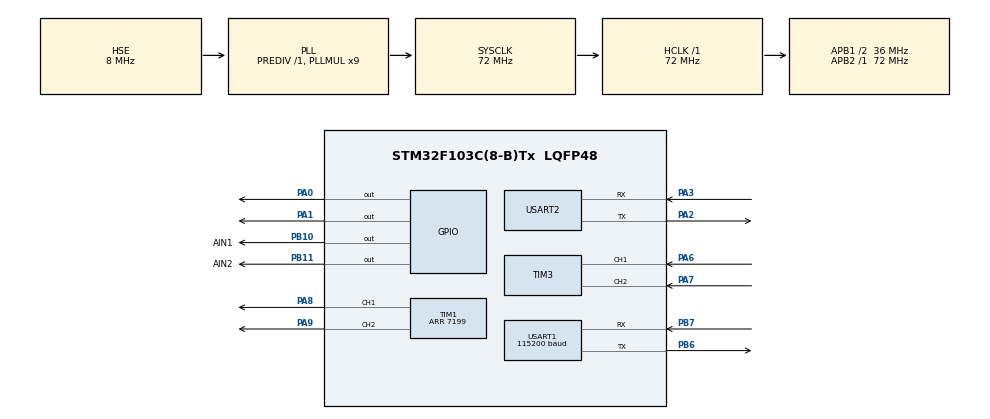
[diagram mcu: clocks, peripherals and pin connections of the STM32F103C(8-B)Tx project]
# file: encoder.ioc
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Dma.Request0=USART1_TX
Dma.USART1_TX.0.Direction=DMA_MEMORY_TO_PERIPH
Dma.USART1_TX.0.Instance=DMA1_Channel4
Dma.USART1_TX.0.MemDataAlignment=DMA_MDATAALIGN_BYTE
Dma.USART1_TX.0.MemInc=DMA_MINC_ENABLE
Dma.USART1_TX.0.Mode=DMA_NORMAL
Dma.USART1_TX.0.PeriphDataAlignment=DMA_PDATAALIGN_BYTE
Dma.USART1_TX.0.PeriphInc=DMA_PINC_DISABLE
Dma.USART1_TX.0.Priority=DMA_PRIORITY_LOW
Mcu.Family=STM32F1
Mcu.Name=STM32F103C(8-B)Tx
Mcu.Package=LQFP48
NVIC.DMA1_Channel4_IRQn=true\:0\:0\:false\:false\:true\:false\:true
NVIC.PriorityGroup=NVIC_PRIORITYGROUP_4
NVIC.TIM2_IRQn=true\:0\:0\:false\:false\:true\:true\:true
NVIC.TIM3_IRQn=true\:2\:0\:true\:false\:true\:true\:true
NVIC.USART2_IRQn=true\:1\:0\:true\:false\:true\:true\:true
PA0-WKUP.Signal=GPIO_Output
PA1.Signal=GPIO_Output
PA2.Mode=Asynchronous
PA2.Signal=USART2_TX
PA3.Mode=Asynchronous
PA3.Signal=USART2_RX
PA6.Signal=S_TIM3_CH1
PA7.Signal=S_TIM3_CH2
PA8.Signal=S_TIM1_CH1
PA9.Signal=S_TIM1_CH2
PB10.GPIO_Label=AIN1
PB10.Signal=GPIO_Output
PB11.GPIO_Label=AIN2
PB11.Signal=GPIO_Output
PB6.Mode=Asynchronous
PB6.Signal=USART1_TX
PB7.Mode=Asynchronous
PB7.Signal=USART1_RX
PD0-OSC_IN.Mode=HSE-External-Oscillator
PD0-OSC_IN.Signal=RCC_OSC_IN
PD1-OSC_OUT.Mode=HSE-External-Oscillator
PD1-OSC_OUT.Signal=RCC_OSC_OUT
ProjectManager.HeapSize=0x200
ProjectManager.StackSize=0x400
ProjectManager.TargetToolchain=STM32CubeIDE
RCC.AHBFreq_Value=72000000
RCC.APB1CLKDivider=RCC_HCLK_DIV2
RCC.APB1Freq_Value=36000000
RCC.APB1TimFreq_Value=72000000
RCC.APB2Freq_Value=72000000
RCC.APB2TimFreq_Value=72000000
RCC.EnbaleCSS=true
RCC.HCLKFreq_Value=72000000
RCC.PLLMUL=RCC_PLL_MUL9
RCC.PLLSourceVirtual=RCC_PLLSOURCE_HSE
RCC.SYSCLKFreq_VALUE=72000000
RCC.SYSCLKSource=RCC_SYSCLKSOURCE_PLLCLK
RCC.USBFreq_Value=72000000
SH.S_TIM1_CH1.0=TIM1_CH1,PWM Generation1 CH1
SH.S_TIM1_CH2.0=TIM1_CH2,PWM Generation2 CH2
SH.S_TIM3_CH1.0=TIM3_CH1,Encoder_Interface
SH.S_TIM3_CH2.0=TIM3_CH2,Encoder_Interface
TIM1.Channel-PWM\ Generation1\ CH1=TIM_CHANNEL_1
TIM1.Channel-PWM\ Generation2\ CH2=TIM_CHANNEL_2
TIM1.Period=7199
TIM1.Pulse-PWM\ Generation1\ CH1=0
TIM2.Period=9999
TIM2.Prescaler=71
TIM3.EncoderMode=TIM_ENCODERMODE_TI12
TIM3.IC1Filter=10
TIM3.IC2Filter=10
USART1.BaudRate=115200
USART1.VirtualMode=VM_ASYNC
USART2.VirtualMode=VM_ASYNC
VP_SYS_VS_ND.Mode=No_Debug
VP_TIM1_VS_ClockSourceINT.Mode=Internal
VP_TIM2_VS_ClockSourceINT.Mode=Internal
board=custom

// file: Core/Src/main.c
/* USER CODE BEGIN Header */
/**
  ******************************************************************************
  * @file           : main.c
  * @brief          : Main program body
  ******************************************************************************
  * @attention
  *
  * <h2><center>&copy; Copyright (c) 2021 STMicroelectronics.
  * All rights reserved.</center></h2>
  *
  * This software component is licensed by ST under BSD 3-Clause license,
  * the "License"; You may not use this file except in compliance with the
  * License. You may obtain a copy of the License at:
  *                        opensource.org/licenses/BSD-3-Clause
  *
  ******************************************************************************
  */
/* USER CODE END Header */
#include "main.h"
#include "dma.h"
#include "tim.h"
#include "usart.h"
#include "gpio.h"

/* USER CODE BEGIN Includes */
#include <stdio.h>
#include <math.h>
#include "retarget.h"
#include "control.h"
#include "DataScope_DP.h"
#include "oled.h"
/* USER CODE END Includes */

/* USER CODE BEGIN PD */
#define DC 1500
/* USER CODE END PD */

/* USER CODE BEGIN PV */
uint16_t Send_Count;

int Target_velocity = DC;

int DirectionA;
int CaptureNumberA;
float cnt=0;

float Kp=20,Ki=30;

uint8_t counter=0;
uint8_t RxBuffer[4];

uint8_t dat[] = {"hello_world!"};
/* USER CODE END PV */

void SystemClock_Config(void);
/* USER CODE BEGIN PFP */
void HAL_TIM_PeriodElapsedCallback(TIM_HandleTypeDef *htim);
void HAL_UART_RxCpltCallback(UART_HandleTypeDef *huart);
/* USER CODE END PFP */

int main(void)
{

  /* MCU Configuration--------------------------------------------------------*/

  /* Reset of all peripherals, Initializes the Flash interface and the Systick. */
  HAL_Init();

  /* Configure the system clock */
  SystemClock_Config();

  /* Initialize all configured peripherals */
  MX_GPIO_Init();
  MX_DMA_Init();
  MX_TIM1_Init();
  MX_TIM2_Init();
  MX_TIM3_Init();
  MX_USART1_UART_Init();
  MX_USART2_UART_Init();
  /* USER CODE BEGIN 2 */
  RetargetInit(&huart2);

  HAL_TIM_PWM_Start(&htim1, TIM_CHANNEL_1);
  HAL_TIM_Base_Start_IT(&htim2);
  HAL_TIM_Encoder_Start(&htim3, TIM_CHANNEL_ALL);

  HAL_UART_Receive_IT(&huart2, RxBuffer, 4);

  OLED_Init();
  OLED_Clear();
  OLED_ShowString(0, 0, dat,8, 1);
  OLED_Refresh();
  /* USER CODE END 2 */

  /* Infinite loop */
  while (1)
  {

  }
}

void SystemClock_Config(void)
{
  RCC_OscInitTypeDef RCC_OscInitStruct = {0};
  RCC_ClkInitTypeDef RCC_ClkInitStruct = {0};

  /** Initializes the RCC Oscillators according to the specified parameters
  * in the RCC_OscInitTypeDef structure.
  */
  RCC_OscInitStruct.OscillatorType = RCC_OSCILLATORTYPE_HSE;
  RCC_OscInitStruct.HSEState = RCC_HSE_ON;
  RCC_OscInitStruct.HSEPredivValue = RCC_HSE_PREDIV_DIV1;
  RCC_OscInitStruct.HSIState = RCC_HSI_ON;
  RCC_OscInitStruct.PLL.PLLState = RCC_PLL_ON;
  RCC_OscInitStruct.PLL.PLLSource = RCC_PLLSOURCE_HSE;
  RCC_OscInitStruct.PLL.PLLMUL = RCC_PLL_MUL9;
  if (HAL_RCC_OscConfig(&RCC_OscInitStruct) != HAL_OK)
  {
    Error_Handler();
  }
  /** Initializes the CPU, AHB and APB buses clocks
  */
  RCC_ClkInitStruct.ClockType = RCC_CLOCKTYPE_HCLK|RCC_CLOCKTYPE_SYSCLK
                              |RCC_CLOCKTYPE_PCLK1|RCC_CLOCKTYPE_PCLK2;
  RCC_ClkInitStruct.SYSCLKSource = RCC_SYSCLKSOURCE_PLLCLK;
  RCC_ClkInitStruct.AHBCLKDivider = RCC_SYSCLK_DIV1;
  RCC_ClkInitStruct.APB1CLKDivider = RCC_HCLK_DIV2;
  RCC_ClkInitStruct.APB2CLKDivider = RCC_HCLK_DIV1;

  if (HAL_RCC_ClockConfig(&RCC_ClkInitStruct, FLASH_LATENCY_2) != HAL_OK)
  {
    Error_Handler();
  }
  /** Enables the Clock Security System
  */
  HAL_RCC_EnableCSS();
}

/* USER CODE BEGIN 4 */
void HAL_TIM_PeriodElapsedCallback(TIM_HandleTypeDef *htim)
{
	int moto;
	if(htim==(&htim2)){
		cnt = cnt + 0.0314;
		if(cnt>6.28)cnt = 0;
		Target_velocity = DC + 500*sin(cnt);
		DirectionA = (int)(__HAL_TIM_IS_TIM_COUNTING_DOWN(&htim3));
		CaptureNumberA = (short)(__HAL_TIM_GetCounter(&htim3));
		__HAL_TIM_SET_COUNTER(&htim3,0);

		moto=Incremental_PI(CaptureNumberA,Target_velocity,Kp,Ki);
		Set_Pwm(moto);

		DataScope_Get_Channel_Data((float)(CaptureNumberA/100),1);
		DataScope_Get_Channel_Data((float)(Target_velocity/100),2);
		Send_Count = DataScope_Data_Generate(4);
		HAL_UART_Transmit_DMA(&huart1, DataScope_OutPut_Buffer, Send_Count);
		printf("%d %d kp:%d ki:%d\r\n",CaptureNumberA/100,Target_velocity/100,(int)Kp,(int)Ki);
/*
		counter++;
		if(counter>10){
			uint8_t data[16];
			counter = 0;
			OLED_ShowString(0, 0, "target", 6, 1);
			sprintf(data,"%d",(int)(Target_velocity/100));
			OLED_ShowString(1, 0, data, 16, 1);
			OLED_ShowString(2, 0, "encoder", 7, 1);
			sprintf(data,"%d",(int)(CaptureNumberA/100));
			OLED_ShowString(3, 0, data, 16, 1);
			OLED_Refresh();

		}*/
	}

}

void HAL_UART_RxCpltCallback(UART_HandleTypeDef *huart)
{
	if(huart==(&huart2)){

		if((RxBuffer[0]==0xfe)&&(RxBuffer[3]==0xff)){
			Kp = RxBuffer[1];
			Ki = RxBuffer[2];
		}
		HAL_UART_Receive_IT(&huart2, RxBuffer, 4);
	}
}
/* USER CODE END 4 */

void Error_Handler(void)
{
}

/************************ (C) COPYRIGHT STMicroelectronics *****END OF FILE****/
